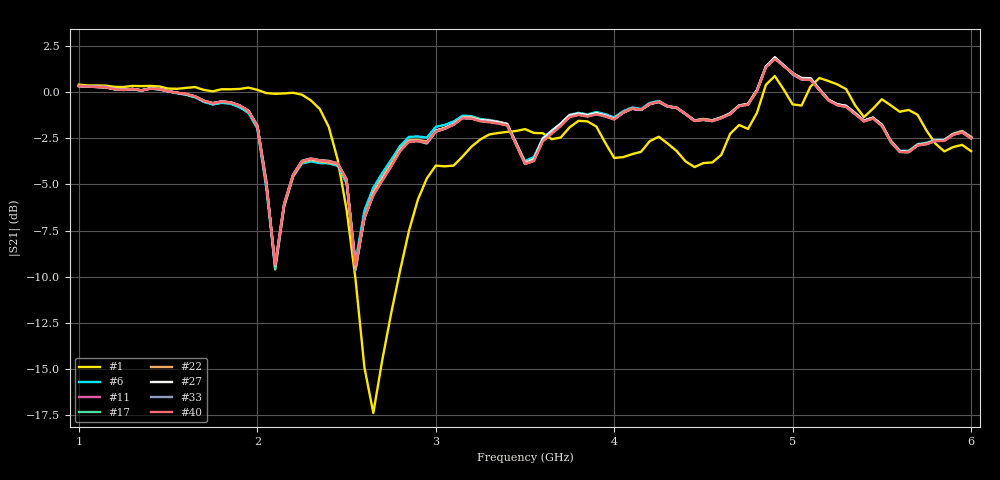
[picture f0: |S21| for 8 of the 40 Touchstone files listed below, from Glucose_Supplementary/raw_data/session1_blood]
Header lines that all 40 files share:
! NanoVNA-App
! Start: 1GHz Stop: 6GHz Points: 101
! S-Parameter data: F S11 S21 S12 S22
# Hz S RI R 50
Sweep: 1 GHz to 6 GHz
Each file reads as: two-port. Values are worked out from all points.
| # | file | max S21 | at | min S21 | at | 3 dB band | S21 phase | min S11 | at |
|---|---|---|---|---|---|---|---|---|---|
| 1 | Air 1 temp 25.3 deg.s2p | 0.87 dB | 4.9 GHz | -17.4 dB | 2.65 GHz | 1 GHz-2.4 GHz | 161 deg at 3.5 GHz | -30.6 dB | 2.25 GHz |
| 2 | Air 2.s2p | 0.88 dB | 4.9 GHz | -17.4 dB | 2.65 GHz | 1 GHz-2.4 GHz | 161 deg at 3.5 GHz | -30.6 dB | 2.25 GHz |
| 3 | Air 3.s2p | 0.88 dB | 4.9 GHz | -17.4 dB | 2.65 GHz | 1 GHz-2.4 GHz | 161 deg at 3.5 GHz | -30.5 dB | 2.25 GHz |
| 4 | Blood Glu0 PBS 1 temp 25.2 deg.s2p | 1.88 dB | 4.9 GHz | -9.5 dB | 2.55 GHz | 1 GHz-1.95 GHz | 155 deg at 3.5 GHz | -31.7 dB | 3.8 GHz |
| 5 | Blood Glu0 PBS 2.s2p | 1.87 dB | 4.9 GHz | -9.6 dB | 2.1 GHz | 1 GHz-1.95 GHz | 155 deg at 3.5 GHz | -31.7 dB | 3.8 GHz |
| 6 | Blood Glu0 PBS 2_1 temp 25.1 deg.s2p | 1.86 dB | 4.9 GHz | -9.5 dB | 2.1 GHz | 1 GHz-1.95 GHz | 155 deg at 3.5 GHz | -31.3 dB | 1.45 GHz |
| 7 | Blood Glu0 PBS 2_2.s2p | 1.85 dB | 4.9 GHz | -9.5 dB | 2.1 GHz | 1 GHz-1.95 GHz | 155 deg at 3.5 GHz | -31.3 dB | 3.8 GHz |
| 8 | Blood Glu0 PBS 2_3.s2p | 1.85 dB | 4.9 GHz | -9.5 dB | 2.1 GHz | 1 GHz-1.95 GHz | 155 deg at 3.5 GHz | -31.4 dB | 1.45 GHz |
| 9 | Blood Glu0 PBS 3.s2p | 1.88 dB | 4.9 GHz | -9.5 dB | 2.55 GHz | 1 GHz-1.95 GHz | 155 deg at 3.5 GHz | -31.8 dB | 3.8 GHz |
| 10 | Blood Glu45 1 temp 25.1 deg.s2p | 1.86 dB | 4.9 GHz | -9.5 dB | 2.55 GHz | 1 GHz-1.95 GHz | 155 deg at 3.5 GHz | -31.0 dB | 3.8 GHz |
| 11 | Blood Glu45 2.s2p | 1.86 dB | 4.9 GHz | -9.6 dB | 2.55 GHz | 1 GHz-1.95 GHz | 155 deg at 3.5 GHz | -30.9 dB | 3.8 GHz |
| 12 | Blood Glu45 2_1 temp 25.2 deg.s2p | 1.84 dB | 4.9 GHz | -9.4 dB | 2.1 GHz | 1 GHz-1.95 GHz | 155 deg at 3.5 GHz | -30.9 dB | 1.45 GHz |
| 13 | Blood Glu45 2_2.s2p | 1.88 dB | 4.9 GHz | -9.5 dB | 2.55 GHz | 1 GHz-1.95 GHz | 155 deg at 3.5 GHz | -31.7 dB | 3.8 GHz |
| 14 | Blood Glu45 2_3.s2p | 1.84 dB | 4.9 GHz | -9.5 dB | 2.55 GHz | 1 GHz-1.95 GHz | 155 deg at 3.5 GHz | -31.7 dB | 3.8 GHz |
| 15 | Blood Glu45 3.s2p | 1.86 dB | 4.9 GHz | -9.6 dB | 2.55 GHz | 1 GHz-1.95 GHz | 155 deg at 3.5 GHz | -31.2 dB | 3.8 GHz |
| 16 | Blood Glu50 1 temp 25.2 deg.s2p | 1.89 dB | 4.9 GHz | -9.6 dB | 2.1 GHz | 1 GHz-1.95 GHz | 155 deg at 3.5 GHz | -30.9 dB | 1.45 GHz |
| 17 | Blood Glu50 2.s2p | 1.85 dB | 4.9 GHz | -9.6 dB | 2.55 GHz | 1 GHz-1.95 GHz | 155 deg at 3.5 GHz | -30.8 dB | 1.45 GHz |
| 18 | Blood Glu50 2_1 temp 25.3 deg.s2p | 1.89 dB | 4.9 GHz | -9.4 dB | 2.1 GHz | 1 GHz-1.95 GHz | 155 deg at 3.5 GHz | -31.0 dB | 1.45 GHz |
| 19 | Blood Glu50 2_2.s2p | 1.90 dB | 4.9 GHz | -9.4 dB | 2.55 GHz | 1 GHz-1.95 GHz | 155 deg at 3.5 GHz | -31.9 dB | 3.8 GHz |
| 20 | Blood Glu50 2_3.s2p | 1.83 dB | 4.9 GHz | -9.4 dB | 2.1 GHz | 1 GHz-1.95 GHz | 155 deg at 3.5 GHz | -31.5 dB | 3.8 GHz |
| 21 | Blood Glu50 3.s2p | 1.86 dB | 4.9 GHz | -9.5 dB | 2.55 GHz | 1 GHz-1.95 GHz | 155 deg at 3.5 GHz | -30.8 dB | 1.45 GHz |
| 22 | Blood Glu55 1 temp 25.3 deg.s2p | 1.84 dB | 4.9 GHz | -9.6 dB | 2.55 GHz | 1 GHz-1.95 GHz | 155 deg at 3.5 GHz | -31.2 dB | 3.8 GHz |
| 23 | Blood Glu55 2.s2p | 1.85 dB | 4.9 GHz | -9.6 dB | 2.55 GHz | 1 GHz-1.95 GHz | 155 deg at 3.5 GHz | -31.6 dB | 3.8 GHz |
| 24 | Blood Glu55 3.s2p | 1.89 dB | 4.9 GHz | -9.4 dB | 2.55 GHz | 1 GHz-1.95 GHz | 155 deg at 3.5 GHz | -31.5 dB | 3.8 GHz |
| 25 | Blood Glu60 1 temp 25.2 deg.s2p | 1.84 dB | 4.9 GHz | -9.4 dB | 2.1 GHz | 1 GHz-1.95 GHz | 155 deg at 3.5 GHz | -31.0 dB | 1.45 GHz |
| 26 | Blood Glu60 2.s2p | 1.84 dB | 4.9 GHz | -9.4 dB | 2.55 GHz | 1 GHz-1.95 GHz | 155 deg at 3.5 GHz | -31.3 dB | 3.8 GHz |
| 27 | Blood Glu60 3.s2p | 1.89 dB | 4.9 GHz | -9.4 dB | 2.55 GHz | 1 GHz-1.95 GHz | 155 deg at 3.5 GHz | -31.8 dB | 3.8 GHz |
| 28 | Blood Glu65 1 temp 25.1 deg.s2p | 1.84 dB | 4.9 GHz | -9.3 dB | 2.1 GHz | 1 GHz-1.95 GHz | 155 deg at 3.5 GHz | -31.1 dB | 3.8 GHz |
| 29 | Blood Glu65 2.s2p | 1.84 dB | 4.9 GHz | -9.3 dB | 2.1 GHz | 1 GHz-1.95 GHz | 155 deg at 3.5 GHz | -31.0 dB | 3.8 GHz |
| 30 | Blood Glu65 3.s2p | 1.84 dB | 4.9 GHz | -9.3 dB | 2.1 GHz | 1 GHz-1.95 GHz | 155 deg at 3.5 GHz | -31.1 dB | 3.8 GHz |
| 31 | Blood Glu70 1 temp 25.1 deg.s2p | 1.85 dB | 4.9 GHz | -9.3 dB | 2.1 GHz | 1 GHz-1.95 GHz | 154 deg at 3.5 GHz | -31.0 dB | 1.45 GHz |
| 32 | Blood Glu70 2.s2p | 1.79 dB | 4.9 GHz | -9.3 dB | 2.1 GHz | 1 GHz-1.95 GHz | 154 deg at 3.5 GHz | -31.1 dB | 3.8 GHz |
| 33 | Blood Glu70 3.s2p | 1.80 dB | 4.9 GHz | -9.3 dB | 2.1 GHz | 1 GHz-1.95 GHz | 154 deg at 3.5 GHz | -31.0 dB | 3.8 GHz |
| 34 | Blood Glu80 1 temp 25.2 deg.s2p | 1.80 dB | 4.9 GHz | -9.3 dB | 2.1 GHz | 1 GHz-1.95 GHz | 154 deg at 3.5 GHz | -31.0 dB | 1.45 GHz |
| 35 | Blood Glu80 2.s2p | 1.80 dB | 4.9 GHz | -9.3 dB | 2.1 GHz | 1 GHz-1.95 GHz | 154 deg at 3.5 GHz | -30.9 dB | 1.45 GHz |
| 36 | Blood Glu80 3.s2p | 1.86 dB | 4.9 GHz | -9.3 dB | 2.1 GHz | 1 GHz-1.95 GHz | 155 deg at 3.5 GHz | -31.2 dB | 3.8 GHz |
| 37 | Blood Glu90 1 temp 25.3 deg.s2p | 1.81 dB | 4.9 GHz | -9.3 dB | 2.1 GHz | 1 GHz-1.95 GHz | 154 deg at 3.5 GHz | -30.9 dB | 1.45 GHz |
| 38 | Blood Glu90 2.s2p | 1.80 dB | 4.9 GHz | -9.3 dB | 2.1 GHz | 1 GHz-1.95 GHz | 154 deg at 3.5 GHz | -30.9 dB | 1.45 GHz |
| 39 | Blood Glu90 3.s2p | 1.80 dB | 4.9 GHz | -9.2 dB | 2.1 GHz | 1 GHz-1.95 GHz | 154 deg at 3.5 GHz | -30.9 dB | 1.45 GHz |
| 40 | Blood Glu100 1 temp 25.2 deg.s2p | 1.81 dB | 4.9 GHz | -9.4 dB | 2.55 GHz | 1 GHz-1.95 GHz | 154 deg at 3.5 GHz | -31.0 dB | 1.45 GHz |
